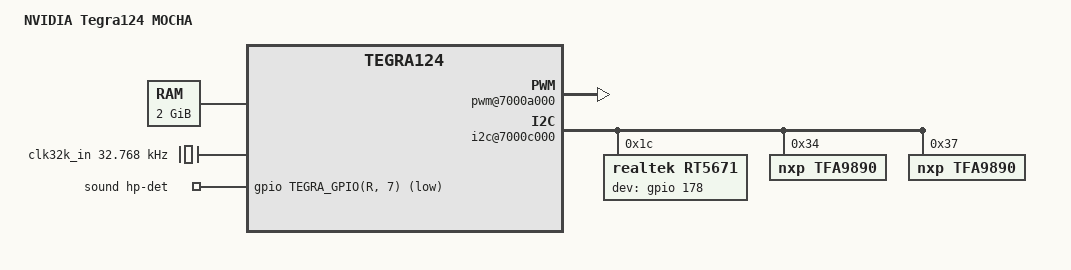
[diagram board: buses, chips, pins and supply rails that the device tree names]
/*
 * arch/arm/boot/dts/tegra124-mocha.dts
 *
 * Copyright (c) 2018, Alexandrov Dmirty.  All rights reserved.
 *
 * This program is free software; you can redistribute it and/or modify
 * it under the terms of the GNU General Public License as published by
 * the Free Software Foundation; either version 2 of the License, or
 * (at your option) any later version.
 *
 * This program is distributed in the hope that it will be useful, but WITHOUT
 * ANY WARRANTY; without even the implied warranty of MERCHANTABILITY or
 * FITNESS FOR A PARTICULAR PURPOSE.  See the GNU General Public License for
 * more details.
 *
 * You should have received a copy of the GNU General Public License along
 * with this program; if not, write to the Free Software Foundation, Inc.,
 * 51 Franklin Street, Fifth Floor, Boston, MA  02110-1301, USA.
 */
/dts-v1/;

#include "tegra124.dtsi"
#include "tegra124-mocha-emc.dtsi"
#include "tegra124-mocha-keys.dtsi"
#include "tegra124-mocha-pinmux.dtsi"
#include "tegra124-mocha-sdhci.dtsi"
#include "tegra124-mocha-pmic.dtsi"
#include "tegra124-mocha-fixed.dtsi"
#include "tegra124-mocha-i2c.dtsi"
#include "tegra124-mocha-display.dtsi"
#include "tegra124-mocha-touchscreens.dtsi"
#include "tegra124-mocha-usb.dtsi"

/ {
	model = "NVIDIA Tegra124 MOCHA";
	compatible = "nvidia,mocha", "nvidia,tegra124";
	nvidia,boardids = "1780:1100:3:A:7","1845:1000:0:A:7";

	aliases {
		rtc0 = "/i2c@0,7000d000/pmic@58";
		rtc1 = "/rtc@0,7000e000";
	};

	memory {
		reg = <0x0 0x80000000 0x0 0x80000000>;
	};

	chosen {
		bootargs = "cros_legacy init=/init rw fbcon loglevel=0 debug earlyprintk drm.atomic=1 no_console_suspend";
	};

	reserved-memory {
		#address-cells = <2>;
		#size-cells = <2>;
		ranges;
	
		pstore: pstore {
			reg = <0 0xfd400000 0 0x200000>;
			compatible = "ramoops";
			record-size = <0x10000>;
			console-size = <0x80000>;
			pmsg-size = <0x40000>;
			ftrace-size = <0x80000>;
			rtrace-size = <0x80000>;
			no-map;
			status = "okay";
		};
	};

	psci {
		compatible = "arm,psci-0.2";
		method = "smc";
	};

	pwm@7000a000 {
		status = "okay";
	};

	gpu@0,57000000 {
		vdd-supply = <&vdd_gpu>;
		status = "okay";
	};

	/* CPU DFLL clock */
	clock@70110000 {
		status = "okay";
		vdd-cpu-supply = <&vdd_cpu>;
		nvidia,i2c-fs-rate = <400000>;
	};

	clocks {
		compatible = "simple-bus";
		#address-cells = <1>;
		#size-cells = <0>;

		clk32k_in: clock@0 {
			compatible = "fixed-clock";
			reg = <0>;
			#clock-cells = <0>;
			clock-frequency = <32768>;
		};
	};

	mipi: mipi@700e3000 {
		status = "okay";
	};

	cpus {
		cpu@0 {
			vdd-cpu-supply = <&vdd_cpu>;
			enable-method = "psci";
		};

		cpu@1 {
			enable-method = "psci";
		};

		cpu@2 {
			enable-method = "psci";
		};

		cpu@3 {
			enable-method = "psci";
		};
	};
	
	thermal-zones {
		cpu {
			trips {
				cpu-shutdown-trip {
					temperature = <101000>;
					hysteresis = <0>;
					type = "critical";
				};
			};
		};

		mem {
			trips {
				mem-shutdown-trip {
					temperature = <101000>;
					hysteresis = <0>;
					type = "critical";
				};
			};
		};

		gpu {
			trips {
				gpu-shutdown-trip {
					temperature = <101000>;
					hysteresis = <0>;
					type = "critical";
				};
			};
		};
	};

	i2c@7000c000 {
		rt5671: rt5671@1c {
			compatible = "realtek,rt5671";
			reg = <0x1c>;

	                realtek,jd_mode = <2>;
	                realtek,dev_gpio = <&gpio 178 0>;
	                realtek,in2_diff = <1>;
	                realtek,in3_diff = <0>;
	                realtek,in4_diff = <1>;
	                realtek,bclk_32fs = <0 1 1 1>;
		};

		tfa9890@34 {
			compatible = "nxp,tfa9890";
			reg = <0x34>;
		};

		tfa9890@37 {
			compatible = "nxp,tfa9890";
			reg = <0x37>;
		};

	};

	sound {
		compatible = "nvidia,tegra-audio-rt5671";
		nvidia,model = "Xiaomi MiPad";

		nvidia,audio-routing =
			"Headphones", "HPOR",
			"Headphones", "HPOL",
			"Mic Jack", "MICBIAS1",
			"IN2P", "Mic Jack";

		nvidia,i2s-controller = <&tegra_i2s1>;
		nvidia,audio-codec = <&rt5671>;

		nvidia,hp-det-gpios = <&gpio TEGRA_GPIO(R, 7) GPIO_ACTIVE_LOW>;

		clocks = <&tegra_car TEGRA124_CLK_PLL_A>,
			 <&tegra_car TEGRA124_CLK_PLL_A_OUT0>,
			 <&tegra_car TEGRA124_CLK_EXTERN1>,
			 <&tegra_car TEGRA124_CLK_EMC>;
		clock-names = "pll_a", "pll_a_out0", "mclk", "emc";
	};
};
